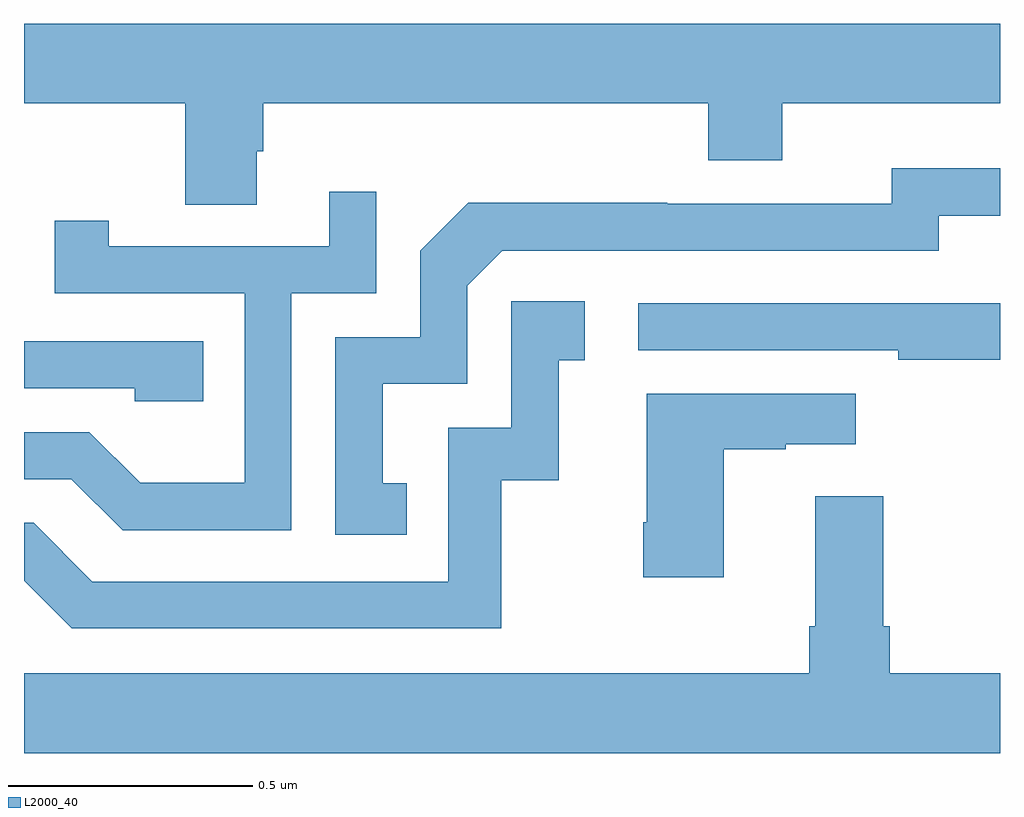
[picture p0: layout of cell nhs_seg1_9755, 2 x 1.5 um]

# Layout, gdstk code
import gdstk
lib = gdstk.Library(unit=1e-6, precision=1e-09)
def P(c, l, *ps):  # polygons
    for p in ps: c.add(gdstk.Polygon(p, *l))
L2000_40 = (2000, 40)

nhs_seg1_9755 = lib.new_cell('nhs_seg1_9755')
P(nhs_seg1_9755, L2000_40, [(232.477,580.938),(232.49,580.938),(232.49,581.036),(233.402,581.036),(233.402,580.919),(233.554,580.919),(233.554,581.036),(234,581.036),(234,581.199),(232,581.199),(232,581.036),(232.33,581.036),(232.33,580.828),(232.477,580.828)],
  [(232.784,580.257),(232.735,580.257),(232.735,580.461),(232.908,580.461),(232.908,580.662),(232.98,580.734),(233.874,580.734),(233.874,580.806),(234,580.806),(234,580.903),(233.778,580.903),(233.778,580.83),(233.318,580.83),(233.318,580.832),(232.91,580.832),(232.812,580.734),(232.812,580.557),(232.638,580.557),(232.638,580.152),(232.784,580.152)],
  [(232.548,580.647),(232.722,580.647),(232.722,580.855),(232.625,580.855),(232.625,580.743),(232.174,580.743),(232.174,580.795),(232.063,580.795),(232.063,580.647),(232.452,580.647),(232.452,580.258),(232.238,580.258),(232.134,580.362),(232,580.362),(232,580.266),(232.097,580.266),(232.202,580.161),(232.548,580.161)],
  [(232.978,580.263),(233.096,580.263),(233.096,580.509),(233.149,580.509),(233.149,580.63),(232.998,580.63),(232.998,580.371),(232.869,580.371),(232.869,580.056),(232.14,580.056),(232.02,580.176),(232,580.176),(232,580.058),(232.098,579.96),(232.978,579.96)],
  [(234,580.626),(233.259,580.626),(233.259,580.53),(233.791,580.53),(233.791,580.51),(234,580.51)],
  [(232.367,580.548),(232,580.548),(232,580.452),(232.227,580.452),(232.227,580.425),(232.367,580.425)],
  [(233.434,580.327),(233.561,580.327),(233.561,580.337),(233.704,580.337),(233.704,580.441),(233.276,580.441),(233.276,580.177),(233.269,580.177),(233.269,580.065),(233.434,580.065)],
  [(234,579.868),(233.774,579.868),(233.774,579.964),(233.761,579.964),(233.761,580.231),(233.621,580.231),(233.621,579.964),(233.609,579.964),(233.609,579.868),(232,579.868),(232,579.704),(234,579.704)])

lib.write_gds('nhs_seg1_9755.gds')
